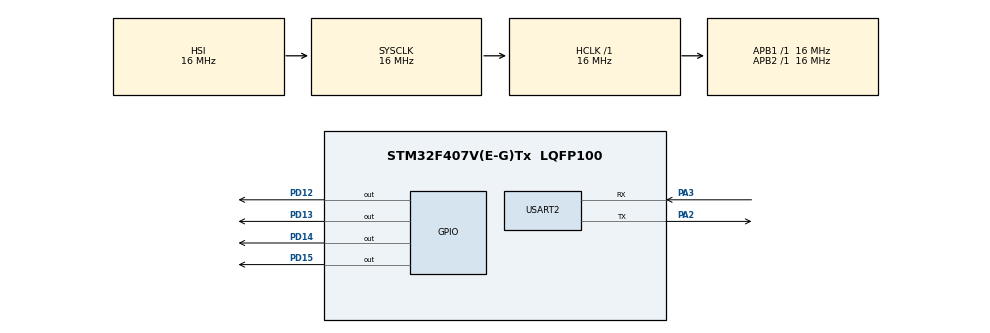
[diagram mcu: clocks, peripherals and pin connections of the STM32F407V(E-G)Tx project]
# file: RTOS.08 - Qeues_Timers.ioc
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Mcu.Family=STM32F4
Mcu.Name=STM32F407V(E-G)Tx
Mcu.Package=LQFP100
NVIC.PriorityGroup=NVIC_PRIORITYGROUP_4
NVIC.TIM6_DAC_IRQn=true\:15\:0\:true\:false\:true\:false\:true
NVIC.TimeBase=TIM6_DAC_IRQn
NVIC.TimeBaseIP=TIM6
NVIC.USART2_IRQn=true\:6\:0\:true\:false\:true\:true\:true
PA2.Mode=Asynchronous
PA2.Signal=USART2_TX
PA3.Mode=Asynchronous
PA3.Signal=USART2_RX
PD12.Signal=GPIO_Output
PD13.Signal=GPIO_Output
PD14.Signal=GPIO_Output
PD15.Signal=GPIO_Output
ProjectManager.HeapSize=0x200
ProjectManager.StackSize=0x400
ProjectManager.TargetToolchain=STM32CubeIDE
RCC.AHBFreq_Value=16000000
RCC.APB1Freq_Value=16000000
RCC.APB2Freq_Value=16000000
RCC.CortexFreq_Value=16000000
RCC.HSE_VALUE=25000000
RCC.HSI_VALUE=16000000
RCC.LSE_VALUE=32768
RCC.SYSCLKFreq_VALUE=16000000
RCC.VCOOutputFreq_Value=192000000
RTC.HourFormat=RTC_HOURFORMAT_12
USART2.VirtualMode=VM_ASYNC
VP_RTC_VS_RTC_Activate.Mode=RTC_Enabled
VP_SYS_VS_tim6.Mode=TIM6
board=custom

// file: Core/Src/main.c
/* USER CODE BEGIN Header */
/**
  ******************************************************************************
  * @file           : main.c
  * @brief          : Main program body
  ******************************************************************************
  * @attention
  *
  * Copyright (c) 2022 STMicroelectronics.
  * All rights reserved.
  *
  * This software is licensed under terms that can be found in the LICENSE file
  * in the root directory of this software component.
  * If no LICENSE file comes with this software, it is provided AS-IS.
  *
  ******************************************************************************
  */
/* USER CODE END Header */
#include "main.h"

/* USER CODE BEGIN Includes */
#include <stdio.h>
#include "FreeRTOS.h"
#include "task.h"
/* USER CODE END Includes */

RTC_HandleTypeDef hrtc;

UART_HandleTypeDef huart2;

/* USER CODE BEGIN PV */
#define DWT_CTRL (*(volatile uint32_t*) 0xE0001000)
volatile BaseType_t status_button =0;
/* USER CODE END Includes */

/* Private typedef -----------------------------------------------------------*/
/* USER CODE BEGIN PTD */

/* USER CODE END PTD */

/* Private define ------------------------------------------------------------*/
/* USER CODE BEGIN PD */
/* USER CODE END PD */

/* Private macro -------------------------------------------------------------*/
/* USER CODE BEGIN PM */

/* USER CODE END PM */

/* Private variables ---------------------------------------------------------*/

/* USER CODE BEGIN PV */
	xTaskHandle handle_cmd_task;
	xTaskHandle handle_led_task;
	xTaskHandle handle_print_task;
	xTaskHandle handle_menu_task;
	xTaskHandle handle_rtc_task;

	BaseType_t status;

	QueueHandle_t q_data, q_print;

	volatile uint8_t user_data;

	state_t curr_state = sMainMenu;

	TimerHandle_t led_timer[4];

/* USER CODE END PV */

void SystemClock_Config(void);
static void MX_GPIO_Init(void);
static void MX_RTC_Init(void);
static void MX_USART2_UART_Init(void);
/* USER CODE BEGIN PFP */

void led_effect_callback(TimerHandle_t xTimer);

/* USER CODE END PFP */

int main(void)
{

  /* MCU Configuration--------------------------------------------------------*/

  /* Reset of all peripherals, Initializes the Flash interface and the Systick. */
  HAL_Init();

  /* Configure the system clock */
  SystemClock_Config();

  /* Initialize all configured peripherals */
  MX_GPIO_Init();
  MX_RTC_Init();
  MX_USART2_UART_Init();
  /* USER CODE BEGIN 2 */
  //cyclic counter
  DWT_CTRL |= (1<<0);

  status = xTaskCreate(menu_task, "menu_task", 250, NULL, 2, &handle_menu_task);
  configASSERT(status == pdTRUE);

  status = xTaskCreate(cmd_task, "cmd_task", 250, NULL, 2, &handle_cmd_task);
  configASSERT(status == pdTRUE);

  status = xTaskCreate(print_task, "print_task", 250, NULL, 2, &handle_print_task);
  configASSERT(status == pdTRUE);

  status = xTaskCreate(led_task, "led_task", 250, NULL, 2, &handle_led_task);
  configASSERT(status == pdTRUE);

  status = xTaskCreate(rtc_task, "rtc_task", 250, NULL, 2, &handle_rtc_task);
  configASSERT(status == pdTRUE);

  q_data = xQueueCreate(10, sizeof(char));
  configASSERT(q_data != NULL);

  q_print = xQueueCreate(10, sizeof(size_t));
  configASSERT(q_print != NULL);

  for (int i=0; i<4; i++)
  {
	  led_timer[i] = xTimerCreate("led_timer", pdMS_TO_TICKS(500), pdTRUE, (void*) (i+1), led_effect_callback);
  }

  HAL_UART_Receive_IT(&huart2, (uint8_t*)&user_data, 1);

  //start FreeRTOS scheduler
  vTaskStartScheduler();
  /* USER CODE END 2 */

  /* Infinite loop */
  while (1)
  {

  }
}

void SystemClock_Config(void)
{
  RCC_OscInitTypeDef RCC_OscInitStruct = {0};
  RCC_ClkInitTypeDef RCC_ClkInitStruct = {0};

  /** Configure the main internal regulator output voltage
  */
  __HAL_RCC_PWR_CLK_ENABLE();
  __HAL_PWR_VOLTAGESCALING_CONFIG(PWR_REGULATOR_VOLTAGE_SCALE1);
  /** Initializes the RCC Oscillators according to the specified parameters
  * in the RCC_OscInitTypeDef structure.
  */
  RCC_OscInitStruct.OscillatorType = RCC_OSCILLATORTYPE_HSI|RCC_OSCILLATORTYPE_LSI;
  RCC_OscInitStruct.HSIState = RCC_HSI_ON;
  RCC_OscInitStruct.HSICalibrationValue = RCC_HSICALIBRATION_DEFAULT;
  RCC_OscInitStruct.LSIState = RCC_LSI_ON;
  RCC_OscInitStruct.PLL.PLLState = RCC_PLL_NONE;
  if (HAL_RCC_OscConfig(&RCC_OscInitStruct) != HAL_OK)
  {
    Error_Handler();
  }
  /** Initializes the CPU, AHB and APB buses clocks
  */
  RCC_ClkInitStruct.ClockType = RCC_CLOCKTYPE_HCLK|RCC_CLOCKTYPE_SYSCLK
                              |RCC_CLOCKTYPE_PCLK1|RCC_CLOCKTYPE_PCLK2;
  RCC_ClkInitStruct.SYSCLKSource = RCC_SYSCLKSOURCE_HSI;
  RCC_ClkInitStruct.AHBCLKDivider = RCC_SYSCLK_DIV1;
  RCC_ClkInitStruct.APB1CLKDivider = RCC_HCLK_DIV1;
  RCC_ClkInitStruct.APB2CLKDivider = RCC_HCLK_DIV1;

  if (HAL_RCC_ClockConfig(&RCC_ClkInitStruct, FLASH_LATENCY_0) != HAL_OK)
  {
    Error_Handler();
  }
}

static void MX_RTC_Init(void)
{

  /** Initialize RTC Only
  */
  hrtc.Instance = RTC;
  hrtc.Init.HourFormat = RTC_HOURFORMAT_12;
  hrtc.Init.AsynchPrediv = 127;
  hrtc.Init.SynchPrediv = 255;
  hrtc.Init.OutPut = RTC_OUTPUT_DISABLE;
  hrtc.Init.OutPutPolarity = RTC_OUTPUT_POLARITY_HIGH;
  hrtc.Init.OutPutType = RTC_OUTPUT_TYPE_OPENDRAIN;
  if (HAL_RTC_Init(&hrtc) != HAL_OK)
  {
    Error_Handler();
  }

}

static void MX_USART2_UART_Init(void)
{

  huart2.Instance = USART2;
  huart2.Init.BaudRate = 115200;
  huart2.Init.WordLength = UART_WORDLENGTH_8B;
  huart2.Init.StopBits = UART_STOPBITS_1;
  huart2.Init.Parity = UART_PARITY_NONE;
  huart2.Init.Mode = UART_MODE_TX_RX;
  huart2.Init.HwFlowCtl = UART_HWCONTROL_NONE;
  huart2.Init.OverSampling = UART_OVERSAMPLING_16;
  if (HAL_UART_Init(&huart2) != HAL_OK)
  {
    Error_Handler();
  }

}

static void MX_GPIO_Init(void)
{
  GPIO_InitTypeDef GPIO_InitStruct = {0};

  /* GPIO Ports Clock Enable */
  __HAL_RCC_GPIOA_CLK_ENABLE();
  __HAL_RCC_GPIOD_CLK_ENABLE();

  /*Configure GPIO pin Output Level */
  HAL_GPIO_WritePin(GPIOD, GPIO_PIN_12|GPIO_PIN_13|GPIO_PIN_14|GPIO_PIN_15, GPIO_PIN_RESET);

  /*Configure GPIO pins : PD12 PD13 PD14 PD15 */
  GPIO_InitStruct.Pin = GPIO_PIN_12|GPIO_PIN_13|GPIO_PIN_14|GPIO_PIN_15;
  GPIO_InitStruct.Mode = GPIO_MODE_OUTPUT_PP;
  GPIO_InitStruct.Pull = GPIO_NOPULL;
  GPIO_InitStruct.Speed = GPIO_SPEED_FREQ_LOW;
  HAL_GPIO_Init(GPIOD, &GPIO_InitStruct);

}

/* USER CODE BEGIN 4 */

/* This function called from UART interrupt handler , hence executes in interrupt context */
void HAL_UART_RxCpltCallback(UART_HandleTypeDef *huart)
{
	uint8_t dummy;

	if(! xQueueIsQueueFullFromISR(q_data))
		{
			/*Enqueue data byte */
			xQueueSendFromISR(q_data, (void*)&user_data, NULL);
		}
	else
		{
			if(user_data == '\n')
				{
					/*Make sure that last data byte of the queue is '\n' */
					xQueueReceiveFromISR(q_data,(void*)&dummy,NULL);
					xQueueSendFromISR(q_data ,(void*)&user_data , NULL);
				}
		}

	/*Send notification to command handling task if user_data = '\n' */
	if( user_data == '\n' )
		{
			/*send notification to command handling task */
			xTaskNotifyFromISR(handle_cmd_task,0,eNoAction,NULL);
		}
		/* Enable UART data byte reception again in IT mode */
		HAL_UART_Receive_IT(&huart2, (uint8_t*)&user_data, 1);
}

void led_effect_callback(TimerHandle_t xTimer)
{
	int id;
	id = (uint32_t) pvTimerGetTimerID(xTimer);

	switch(id)
	{
	case 1:
		led_effect1();
	case 2:
		led_effect1();
	case 3:
		led_effect1();
	case 4:
		led_effect1();
	}
}

/* USER CODE END 4 */

void HAL_TIM_PeriodElapsedCallback(TIM_HandleTypeDef *htim)
{
  if (htim->Instance == TIM6) {
    HAL_IncTick();
  }
}

void Error_Handler(void)
{
  __disable_irq();
  while (1)
  {
  }
}
